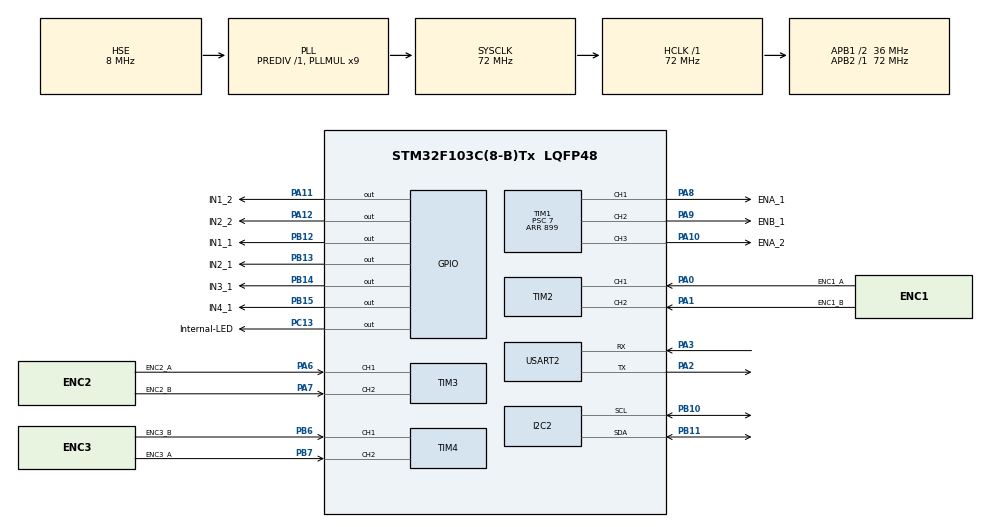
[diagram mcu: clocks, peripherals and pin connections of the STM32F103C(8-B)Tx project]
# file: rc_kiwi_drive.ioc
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I2C2.I2C_Mode=I2C_Fast
Mcu.Family=STM32F1
Mcu.Name=STM32F103C(8-B)Tx
Mcu.Package=LQFP48
NVIC.PriorityGroup=NVIC_PRIORITYGROUP_4
PA0-WKUP.GPIO_Label=ENC1_A
PA0-WKUP.Signal=S_TIM2_CH1_ETR
PA1.GPIO_Label=ENC1_B
PA1.Signal=S_TIM2_CH2
PA10.GPIO_Label=ENA_2
PA10.Signal=S_TIM1_CH3
PA11.GPIO_Label=IN1_2
PA11.Signal=GPIO_Output
PA12.GPIO_Label=IN2_2
PA12.Signal=GPIO_Output
PA13.Mode=Serial_Wire
PA13.Signal=SYS_JTMS-SWDIO
PA14.Mode=Serial_Wire
PA14.Signal=SYS_JTCK-SWCLK
PA2.Mode=Asynchronous
PA2.Signal=USART2_TX
PA3.Mode=Asynchronous
PA3.Signal=USART2_RX
PA6.GPIO_Label=ENC2_A
PA6.Signal=S_TIM3_CH1
PA7.GPIO_Label=ENC2_B
PA7.Signal=S_TIM3_CH2
PA8.GPIO_Label=ENA_1
PA8.Signal=S_TIM1_CH1
PA9.GPIO_Label=ENB_1
PA9.Signal=S_TIM1_CH2
PB10.Mode=I2C
PB10.Signal=I2C2_SCL
PB11.Mode=I2C
PB11.Signal=I2C2_SDA
PB12.GPIO_Label=IN1_1
PB12.Signal=GPIO_Output
PB13.GPIO_Label=IN2_1
PB13.Signal=GPIO_Output
PB14.GPIO_Label=IN3_1
PB14.Signal=GPIO_Output
PB15.GPIO_Label=IN4_1
PB15.Signal=GPIO_Output
PB6.GPIO_Label=ENC3_B
PB6.Signal=S_TIM4_CH1
PB7.GPIO_Label=ENC3_A
PB7.Signal=S_TIM4_CH2
PC13-TAMPER-RTC.GPIO_Label=Internal-LED
PC13-TAMPER-RTC.Signal=GPIO_Output
PD0-OSC_IN.Mode=HSE-External-Oscillator
PD0-OSC_IN.Signal=RCC_OSC_IN
PD1-OSC_OUT.Mode=HSE-External-Oscillator
PD1-OSC_OUT.Signal=RCC_OSC_OUT
ProjectManager.HeapSize=0x200
ProjectManager.StackSize=0x400
ProjectManager.TargetToolchain=STM32CubeIDE
RCC.AHBFreq_Value=72000000
RCC.APB1CLKDivider=RCC_HCLK_DIV2
RCC.APB1Freq_Value=36000000
RCC.APB1TimFreq_Value=72000000
RCC.APB2Freq_Value=72000000
RCC.APB2TimFreq_Value=72000000
RCC.HCLKFreq_Value=72000000
RCC.PLLMUL=RCC_PLL_MUL9
RCC.PLLSourceVirtual=RCC_PLLSOURCE_HSE
RCC.SYSCLKFreq_VALUE=72000000
RCC.SYSCLKSource=RCC_SYSCLKSOURCE_PLLCLK
RCC.USBFreq_Value=72000000
SH.S_TIM1_CH1.0=TIM1_CH1,PWM Generation1 CH1
SH.S_TIM1_CH2.0=TIM1_CH2,PWM Generation2 CH2
SH.S_TIM1_CH3.0=TIM1_CH3,PWM Generation3 CH3
SH.S_TIM2_CH1_ETR.0=TIM2_CH1,Encoder_Interface
SH.S_TIM2_CH2.0=TIM2_CH2,Encoder_Interface
SH.S_TIM3_CH1.0=TIM3_CH1,Encoder_Interface
SH.S_TIM3_CH2.0=TIM3_CH2,Encoder_Interface
SH.S_TIM4_CH1.0=TIM4_CH1,Encoder_Interface
SH.S_TIM4_CH2.0=TIM4_CH2,Encoder_Interface
TIM1.Channel-PWM\ Generation1\ CH1=TIM_CHANNEL_1
TIM1.Channel-PWM\ Generation2\ CH2=TIM_CHANNEL_2
TIM1.Channel-PWM\ Generation3\ CH3=TIM_CHANNEL_3
TIM1.CounterMode=TIM_COUNTERMODE_CENTERALIGNED1
TIM1.Period=899
TIM1.Prescaler=7
TIM2.EncoderMode=TIM_ENCODERMODE_TI12
TIM3.EncoderMode=TIM_ENCODERMODE_TI12
TIM4.EncoderMode=TIM_ENCODERMODE_TI12
USART2.VirtualMode=VM_ASYNC
VP_TIM1_VS_ClockSourceINT.Mode=Internal
board=custom

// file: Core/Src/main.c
/* USER CODE BEGIN Header */
/**
 ******************************************************************************
 * @file           : main.c
 * @brief          : Main program body
 ******************************************************************************
 * @attention
 *
 * Copyright (c) 2026 STMicroelectronics.
 * All rights reserved.
 *
 * This software is licensed under terms that can be found in the LICENSE file
 * in the root directory of this software component.
 * If no LICENSE file comes with this software, it is provided AS-IS.
 *
 ******************************************************************************
 */
/* USER CODE END Header */
#include "main.h"

/* USER CODE BEGIN Includes */

#include "bsp_pwm.h"
#include "motor.h"
#include "encoder.h"
#include "motor_controller.h"
#include "comm.h"
#include "odometry.h"
#include "kiwi_kinematics.h"
#include "imu.h"
#include "survey.h"
#include "waypoint_nav.h"
#include "calib.h"
#include "nvs.h"
#include <stdio.h>
#include <string.h>
#include <math.h>

/* USER CODE END Includes */

/* USER CODE BEGIN PD */

#define DT_NOMINAL_S 0.010f
#define DT_MAX_S 0.050f

#define TELEMETRY_LOG_ENABLED 1
#define TELEMETRY_LOG_PERIOD_MS 50u
#define RAD_TO_DEG_TELEM (180.0f / 3.14159265359f)

#define ENCODER_FAULT_SPEED_EPS_RPM 2.0f
#define ENCODER_FAULT_CMD_MIN_RPM 5.0f
#define ENCODER_FAULT_TICK_THRESHOLD 20u
#define ENCODER_FAULT_GRACE_MS 350u

/* Kiwi-drive mounting geometry: a fixed chassis design constant, not
 * runtime-calibratable (see nvs.h) -- SET THESE TO MATCH YOUR ACTUAL
 * CHASSIS, the same treatment ENCODER_PPR already gets in encoder.h.
 * Angle convention: body-frame CCW-from-+X (forward), matching
 * kiwi_kinematics.h. The values below (90/210/330) are a placeholder
 * symmetric 120-degree default -- correct them before relying on any
 * of this. */
#define KIWI_MOUNT_ANGLE1_DEG 0.0f
#define KIWI_MOUNT_ANGLE2_DEG 120.0f
#define KIWI_MOUNT_ANGLE3_DEG 240.0f
#define KIWI_DEG2RAD(d) ((d) * 3.14159265359f / 180.0f)

#define NAV_IDLE_SPEED_TOL_MPS 0.02f
#define NAV_IDLE_OMEGA_TOL_RADPS 0.15f

/* USER CODE END PD */

I2C_HandleTypeDef hi2c2;

TIM_HandleTypeDef htim1;
TIM_HandleTypeDef htim2;
TIM_HandleTypeDef htim3;
TIM_HandleTypeDef htim4;

UART_HandleTypeDef huart2;

/* USER CODE BEGIN PV */

Motor_t motor1 = {
    .IN1_Port = IN1_1_GPIO_Port,
    .IN1_Pin = IN1_1_Pin,
    .IN2_Port = IN2_1_GPIO_Port,
    .IN2_Pin = IN2_1_Pin,
    .pwmChannel = PWM_CH1};

Motor_t motor2 = {
    .IN1_Port = IN3_1_GPIO_Port,
    .IN1_Pin = IN3_1_Pin,
    .IN2_Port = IN4_1_GPIO_Port,
    .IN2_Pin = IN4_1_Pin,
    .pwmChannel = PWM_CH2};

Motor_t motor3 = {
    .IN1_Port = IN1_2_GPIO_Port,
    .IN1_Pin = IN1_2_Pin,
    .IN2_Port = IN2_2_GPIO_Port,
    .IN2_Pin = IN2_2_Pin,
    .pwmChannel = PWM_CH3};

Encoder_t enc1;
Encoder_t enc2;
Encoder_t enc3;
MotorController_t ctrl1;
MotorController_t ctrl2;
MotorController_t ctrl3;

KiwiKinematics_t g_kin;
Odometry_t g_odom;
static OdomMotionMode_t g_motion_mode = ODOM_IDLE;

/* Last commanded body-frame velocity (CMD_SET_SPEED), replacing the
 * old SyncDrive_t g_drive/target_left/target_right. There is no
 * separate L/R-sync loop left to run: every tick, all 3 wheels'
 * targets are derived from this ONE shared command via
 * KiwiKinematics_InverseKinematics, so they are synchronized by
 * construction (see kiwi_kinematics.h). */
static float g_cmd_vx = 0.0f;
static float g_cmd_vy = 0.0f;
static float g_cmd_omega = 0.0f;
static uint32_t s_last_cmd_change_tick = 0;

static bool g_encoder_fault[3] = {false, false, false};

/* USER CODE END PV */

void SystemClock_Config(void);
static void MX_GPIO_Init(void);
static void MX_TIM2_Init(void);
static void MX_TIM3_Init(void);
static void MX_TIM4_Init(void);
static void MX_TIM1_Init(void);
static void MX_USART2_UART_Init(void);
static void MX_I2C2_Init(void);
/* USER CODE BEGIN PFP */

void OnCommandReceived(CommCmd_t cmd, const uint8_t *payload, uint8_t len);

/* USER CODE END PFP */

/* USER CODE BEGIN 0 */
static void CheckEncoderFault(void)
{
  static uint16_t stall_count[3] = {0, 0, 0};
  static bool prev_fault[3] = {false, false, false};

  if ((HAL_GetTick() - s_last_cmd_change_tick) < ENCODER_FAULT_GRACE_MS)
  {
      stall_count[0] = stall_count[1] = stall_count[2] = 0;
      g_encoder_fault[0] = g_encoder_fault[1] = g_encoder_fault[2] = false;
      return;
  }

  Encoder_t *encs[3] = {&enc1, &enc2, &enc3};
  MotorController_t *ctrls[3] = {&ctrl1, &ctrl2, &ctrl3};

  float speed[3], cmd[3];
  for (int i = 0; i < 3; i++)
  {
    speed[i] = fabsf(Encoder_GetSpeed(encs[i]));
    cmd[i] = fabsf(ctrls[i]->target_rpm);
  }

  bool safe_to_print = !Nav_IsActive();

  for (int i = 0; i < 3; i++)
  {
    bool stalled = (cmd[i] > ENCODER_FAULT_CMD_MIN_RPM) && (speed[i] < ENCODER_FAULT_SPEED_EPS_RPM);

    /* "at least one OTHER wheel is confirmed moving" proves this
     * specific wheel has a problem rather than the whole robot
     * simply being idle/disabled -- generalizes the old pairwise
     * FL-vs-FR check to 3 wheels. */
    bool other_moving = false;
    for (int j = 0; j < 3; j++)
    {
      if (j != i && speed[j] >= ENCODER_FAULT_SPEED_EPS_RPM)
        other_moving = true;
    }

    stall_count[i] = (stalled && other_moving) ? (uint16_t)(stall_count[i] + 1) : 0;
    g_encoder_fault[i] = (stall_count[i] >= ENCODER_FAULT_TICK_THRESHOLD);

    if (g_encoder_fault[i] && !prev_fault[i] && safe_to_print)
    {
      printf("ENCODER_FAULT: wheel %d stalled (cmd=%.1f rpm) while another wheel moves\r\n",
             i + 1, (double)cmd[i]);
    }
    prev_fault[i] = g_encoder_fault[i];
  }
}

#if TELEMETRY_LOG_ENABLED

/* Rolling "worst tick this telemetry period" watchdog. Updated every
 * control tick (see the main loop) with the RAW elapsed_ms BEFORE any
 * dt clamping, and reset to 0 each time it is packed into a telemetry
 * send below -- so each packet reports the worst stall observed in the
 * preceding TELEMETRY_LOG_PERIOD_MS window. A sustained ~10ms reading
 * is normal jitter-free operation; anything materially higher is direct
 * evidence of a blocking call (I2C retry, UART, etc.) eating into the
 * control loop's timing budget. */
static uint32_t s_max_elapsed_ms_since_telem = 0;

static void SendTelemetryLog(float dtheta_gyro_rad)
{
  int32_t d1_32, d2_32, d3_32;
  Odometry_GetLastDeltas(&g_odom, &d1_32, &d2_32, &d3_32);
  int16_t d1 = (int16_t)d1_32;
  int16_t d2 = (int16_t)d2_32;
  int16_t d3 = (int16_t)d3_32;

  float x, y, theta_rad;
  Odometry_GetPosition(&g_odom, &x, &y, &theta_rad);

  float hd_signed, hd_abs;
  Odometry_GetHeadingDisagreement(&g_odom, &hd_signed, &hd_abs);

  uint32_t ts = HAL_GetTick();
  int32_t enc1_pos = Encoder_GetPosition(&enc1);
  int32_t enc2_pos = Encoder_GetPosition(&enc2);
  int32_t enc3_pos = Encoder_GetPosition(&enc3);
  float gyro_raw = IMU_GetLastRawDps();
  float gyro_bias = IMU_GetBiasRaw();
  float dtheta_deg = dtheta_gyro_rad * RAD_TO_DEG_TELEM;
  float theta_deg = theta_rad * RAD_TO_DEG_TELEM;
  uint8_t mode_byte = (uint8_t)g_motion_mode;

  uint8_t is_calibrated = IMU_IsCalibrated() ? 1u : 0u;
  float scale_correction = IMU_GetScaleCorrection();
  uint32_t max_dt_ms = s_max_elapsed_ms_since_telem;
  uint8_t max_dt_ms_clamped = (max_dt_ms > 255u) ? 255u : (uint8_t)max_dt_ms;
  s_max_elapsed_ms_since_telem = 0;

  uint8_t buf[61];
  memcpy(buf + 0, &ts, 4);
  memcpy(buf + 4, &enc1_pos, 4);
  memcpy(buf + 8, &enc2_pos, 4);
  memcpy(buf + 12, &enc3_pos, 4);
  memcpy(buf + 16, &d1, 2);
  memcpy(buf + 18, &d2, 2);
  memcpy(buf + 20, &d3, 2);
  memcpy(buf + 22, &gyro_raw, 4);
  memcpy(buf + 26, &gyro_bias, 4);
  memcpy(buf + 30, &dtheta_deg, 4);
  memcpy(buf + 34, &theta_deg, 4);
  memcpy(buf + 38, &x, 4);
  memcpy(buf + 42, &y, 4);
  memcpy(buf + 46, &hd_signed, 4);
  memcpy(buf + 50, &hd_abs, 4);
  buf[54] = mode_byte;
  buf[55] = is_calibrated;
  memcpy(buf + 56, &scale_correction, 4);
  buf[60] = max_dt_ms_clamped;

  Comm_SendPacket(CMD_TELEMETRY_LOG, buf, sizeof(buf));
}
#endif /* TELEMETRY_LOG_ENABLED */

/* USER CODE END 0 */

int main(void)
{

  /* MCU Configuration--------------------------------------------------------*/

  /* Reset of all peripherals, Initializes the Flash interface and the Systick. */
  HAL_Init();

  /* Configure the system clock */
  SystemClock_Config();

  /* Initialize all configured peripherals */
  MX_GPIO_Init();
  MX_TIM2_Init();
  MX_TIM3_Init();
  MX_TIM4_Init();
  MX_TIM1_Init();
  MX_USART2_UART_Init();
  MX_I2C2_Init();
  /* USER CODE BEGIN 2 */

  HAL_GPIO_WritePin(GPIOC, GPIO_PIN_13, GPIO_PIN_RESET);

  Encoder_Init(&enc1, &htim2);
  Encoder_Init(&enc2, &htim3);
  Encoder_Init(&enc3, &htim4);

  /* Starting sign convention, same as the old FL/FR default -- verify
   * against real hardware (does each encoder count up while its wheel
   * spins in the commanded-forward direction?) and correct per-wheel
   * if any reads backwards. */
  enc1.dir_sign = -1;
  enc2.dir_sign = -1;
  enc3.dir_sign = -1;

  MotorController_Init(&ctrl1, &motor1, &enc1);
  MotorController_Init(&ctrl2, &motor2, &enc2);
  MotorController_Init(&ctrl3, &motor3, &enc3);

  IMU_Init();

  Comm_Init(&huart2);
  Comm_RegisterCommandCallback(OnCommandReceived);

  /* g_kin is the single shared source of truth for chassis geometry:
   * both the command-mixing path (KiwiKinematics_InverseKinematics,
   * used directly in the main loop below) and g_odom's own internal
   * copy (see Odometry_Init) are built from these same values, so the
   * two can't drift apart in practice even though Odometry_t owns its
   * copy rather than a shared pointer (see odometry.h). Wheel/robot
   * radius start at NVS_GetDefaults' placeholders and are corrected
   * below if calibrated values are on flash; mounting angles are a
   * fixed chassis constant (see the KIWI_MOUNT_ANGLE* defines) and are
   * never NVS-loaded. */
  {
    NVS_Params_t defaults;
    NVS_GetDefaults(&defaults);
    KiwiKinematics_Init(&g_kin, defaults.wheel_radius, defaults.robot_radius,
                        KIWI_DEG2RAD(KIWI_MOUNT_ANGLE1_DEG),
                        KIWI_DEG2RAD(KIWI_MOUNT_ANGLE2_DEG),
                        KIWI_DEG2RAD(KIWI_MOUNT_ANGLE3_DEG));
  }
  Odometry_Init(&g_odom, &g_kin,
                Encoder_GetPosition(&enc1), Encoder_GetPosition(&enc2), Encoder_GetPosition(&enc3));

  Nav_Init();
  Cal_Init();

  {
    NVS_Params_t nvs;
    if (NVS_Load(&nvs))
    {
      IMU_SetScaleCorrection(nvs.gyro_scale);
      KiwiKinematics_Init(&g_kin, nvs.wheel_radius, nvs.robot_radius,
                          KIWI_DEG2RAD(KIWI_MOUNT_ANGLE1_DEG),
                          KIWI_DEG2RAD(KIWI_MOUNT_ANGLE2_DEG),
                          KIWI_DEG2RAD(KIWI_MOUNT_ANGLE3_DEG));
      Odometry_SetParams(&g_odom, &g_kin);
      Odometry_SetWheelScale(&g_odom, nvs.wheel_scale1, nvs.wheel_scale2, nvs.wheel_scale3);
    }
  }

  /* USER CODE END 2 */

  /* Infinite loop */
  /* USER CODE BEGIN WHILE */

  uint32_t lastControlTime = 0;
  uint32_t lastStatusTime = 0;
#if TELEMETRY_LOG_ENABLED
  uint32_t lastTelemetryLogTime = 0;
#endif

  while (1)
  {
    /* USER CODE END WHILE */

    /* USER CODE BEGIN 3 */
    uint32_t now = HAL_GetTick();

    Comm_Process();
    Survey_ResyncTick();
    Nav_DebugTick();

    if ((now - lastControlTime) >= 10U)
    {
      uint32_t elapsed_ms = now - lastControlTime;
      float dt = (float)elapsed_ms * 0.001f;
      lastControlTime = now;

      if (elapsed_ms > s_max_elapsed_ms_since_telem)
      {
        s_max_elapsed_ms_since_telem = elapsed_ms;
      }

      if (dt <= 0.0f)
      {
        dt = DT_NOMINAL_S;
      }
      else if (dt > DT_MAX_S)
      {
        /* A real, known elapsed time exists -- use it (capped for
         * numerical safety) rather than discarding it in favour of
         * a fixed nominal value that would under-integrate whatever
         * actually happened during the stall. */
        dt = DT_MAX_S;
      }

      float dtheta_gyro = IMU_UpdateGyroZ(dt);
      IMU_CalibrationTick();

      float cur_x, cur_y, cur_theta;
      Odometry_GetPosition(&g_odom, &cur_x, &cur_y, &cur_theta);

      bool any_encoder_fault = g_encoder_fault[0] || g_encoder_fault[1] || g_encoder_fault[2];

      if (!Comm_IsConnected() || IMU_IsFaulted() || any_encoder_fault)
      {
        if (Nav_IsActive())
          Nav_AbortFailsafe();
        if (Cal_IsActive())
          Cal_Abort();
        g_cmd_vx = 0.0f;
        g_cmd_vy = 0.0f;
        g_cmd_omega = 0.0f;
        MotorController_Stop(&ctrl1);
        MotorController_Stop(&ctrl2);
        MotorController_Stop(&ctrl3);
      }
      else if (Nav_IsActive())
      {
        Nav_Update(dt);
      }
      else if (Cal_IsActive())
      {
        Cal_Update(dt, dtheta_gyro);
      }
      else
      {
        float w1, w2, w3;
        KiwiKinematics_InverseKinematics(&g_kin, g_cmd_vx, g_cmd_vy, g_cmd_omega, &w1, &w2, &w3);
        MotorController_SetSpeed(&ctrl1, w1);
        MotorController_SetSpeed(&ctrl2, w2);
        MotorController_SetSpeed(&ctrl3, w3);
        MotorController_Update(&ctrl1, dt);
        MotorController_Update(&ctrl2, dt);
        MotorController_Update(&ctrl3, dt);
      }
      {
        static bool auto_was_active = false;
        bool auto_now = Nav_IsActive() || Cal_IsActive();
        if (auto_was_active && !auto_now)
        {
          /* Come to a clean, known-zero state on the transition
           * back to manual control -- MotorController_Stop
           * clears each controller's own PID integrator (see
           * motor_controller.c), preventing whatever Nav/Cal
           * left behind from carrying over into manual drive. */
          g_cmd_vx = 0.0f;
          g_cmd_vy = 0.0f;
          g_cmd_omega = 0.0f;
          MotorController_Stop(&ctrl1);
          MotorController_Stop(&ctrl2);
          MotorController_Stop(&ctrl3);
        }
        auto_was_active = auto_now;
      }

      int32_t pos1 = Encoder_GetPosition(&enc1);
      int32_t pos2 = Encoder_GetPosition(&enc2);
      int32_t pos3 = Encoder_GetPosition(&enc3);

      OdomMotionMode_t mode_eff;
      if (Nav_IsActive())
        mode_eff = Nav_GetMotionMode();
      else if (Cal_IsActive())
        mode_eff = Cal_GetMotionMode();
      else
      {
        /* STRAIGHT vs ROTATING no longer changes Odometry_Update's
         * behavior (see odometry.h) -- only IDLE-vs-not matters
         * here, so this collapses to one stationary check against
         * NAV_IDLE_SPEED_TOL_MPS/NAV_IDLE_OMEGA_TOL_RADPS. */
        bool stationary = (sqrtf(g_cmd_vx * g_cmd_vx + g_cmd_vy * g_cmd_vy) < NAV_IDLE_SPEED_TOL_MPS) && (fabsf(g_cmd_omega) < NAV_IDLE_OMEGA_TOL_RADPS);
        mode_eff = stationary ? ODOM_IDLE : ODOM_STRAIGHT;
      }
      Odometry_Update(&g_odom, pos1, pos2, pos3, dtheta_gyro, mode_eff);

      if (!Nav_IsActive() && !Cal_IsActive())
      {
    	  CheckEncoderFault();
      }

#if TELEMETRY_LOG_ENABLED
      if ((now - lastTelemetryLogTime) >= TELEMETRY_LOG_PERIOD_MS)
      {
        lastTelemetryLogTime = now;
        SendTelemetryLog(dtheta_gyro);
      }
#endif
    }

    if ((now - lastStatusTime) >= 100U)
    {
      lastStatusTime = now;

      float speeds[3];
      speeds[0] = MotorController_GetCurrentSpeed(&ctrl1);
      speeds[1] = MotorController_GetCurrentSpeed(&ctrl2);
      speeds[2] = MotorController_GetCurrentSpeed(&ctrl3);

      int32_t cnt1 = Encoder_GetPosition(&enc1);
      int32_t cnt2 = Encoder_GetPosition(&enc2);
      int32_t cnt3 = Encoder_GetPosition(&enc3);
      uint8_t duty1 = MotorController_GetDuty(&ctrl1);
      uint8_t duty2 = MotorController_GetDuty(&ctrl2);
      uint8_t duty3 = MotorController_GetDuty(&ctrl3);

      /* Layout (27 bytes):
       *   [0..3]   float  rpm_1
       *   [4..7]   float  rpm_2
       *   [8..11]  float  rpm_3
       *   [12..15] int32  enc_1  (raw count — drift diagnosis)
       *   [16..19] int32  enc_2
       *   [20..23] int32  enc_3
       *   [24]     uint8  duty_1 (%)
       *   [25]     uint8  duty_2
       *   [26]     uint8  duty_3
       */
      uint8_t status_buf[27];
      memcpy(status_buf, speeds, 12);
      memcpy(status_buf + 12, &cnt1, 4);
      memcpy(status_buf + 16, &cnt2, 4);
      memcpy(status_buf + 20, &cnt3, 4);
      status_buf[24] = duty1;
      status_buf[25] = duty2;
      status_buf[26] = duty3;
      Comm_SendPacket(CMD_STATUS, status_buf, 27);
    }
  }
  /* USER CODE END 3 */
}

void SystemClock_Config(void)
{
  RCC_OscInitTypeDef RCC_OscInitStruct = {0};
  RCC_ClkInitTypeDef RCC_ClkInitStruct = {0};

  /** Initializes the RCC Oscillators according to the specified parameters
  * in the RCC_OscInitTypeDef structure.
  */
  RCC_OscInitStruct.OscillatorType = RCC_OSCILLATORTYPE_HSE;
  RCC_OscInitStruct.HSEState = RCC_HSE_ON;
  RCC_OscInitStruct.HSEPredivValue = RCC_HSE_PREDIV_DIV1;
  RCC_OscInitStruct.HSIState = RCC_HSI_ON;
  RCC_OscInitStruct.PLL.PLLState = RCC_PLL_ON;
  RCC_OscInitStruct.PLL.PLLSource = RCC_PLLSOURCE_HSE;
  RCC_OscInitStruct.PLL.PLLMUL = RCC_PLL_MUL9;
  if (HAL_RCC_OscConfig(&RCC_OscInitStruct) != HAL_OK)
  {
    Error_Handler();
  }

  /** Initializes the CPU, AHB and APB buses clocks
  */
  RCC_ClkInitStruct.ClockType = RCC_CLOCKTYPE_HCLK|RCC_CLOCKTYPE_SYSCLK
                              |RCC_CLOCKTYPE_PCLK1|RCC_CLOCKTYPE_PCLK2;
  RCC_ClkInitStruct.SYSCLKSource = RCC_SYSCLKSOURCE_PLLCLK;
  RCC_ClkInitStruct.AHBCLKDivider = RCC_SYSCLK_DIV1;
  RCC_ClkInitStruct.APB1CLKDivider = RCC_HCLK_DIV2;
  RCC_ClkInitStruct.APB2CLKDivider = RCC_HCLK_DIV1;

  if (HAL_RCC_ClockConfig(&RCC_ClkInitStruct, FLASH_LATENCY_2) != HAL_OK)
  {
    Error_Handler();
  }
}

static void MX_I2C2_Init(void)
{

  hi2c2.Instance = I2C2;
  hi2c2.Init.ClockSpeed = 400000;
  hi2c2.Init.DutyCycle = I2C_DUTYCYCLE_2;
  hi2c2.Init.OwnAddress1 = 0;
  hi2c2.Init.AddressingMode = I2C_ADDRESSINGMODE_7BIT;
  hi2c2.Init.DualAddressMode = I2C_DUALADDRESS_DISABLE;
  hi2c2.Init.OwnAddress2 = 0;
  hi2c2.Init.GeneralCallMode = I2C_GENERALCALL_DISABLE;
  hi2c2.Init.NoStretchMode = I2C_NOSTRETCH_DISABLE;
  if (HAL_I2C_Init(&hi2c2) != HAL_OK)
  {
    Error_Handler();
  }

}

static void MX_TIM1_Init(void)
{

  TIM_ClockConfigTypeDef sClockSourceConfig = {0};
  TIM_MasterConfigTypeDef sMasterConfig = {0};
  TIM_OC_InitTypeDef sConfigOC = {0};
  TIM_BreakDeadTimeConfigTypeDef sBreakDeadTimeConfig = {0};

  htim1.Instance = TIM1;
  htim1.Init.Prescaler = 7;
  htim1.Init.CounterMode = TIM_COUNTERMODE_CENTERALIGNED1;
  htim1.Init.Period = 899;
  htim1.Init.ClockDivision = TIM_CLOCKDIVISION_DIV1;
  htim1.Init.RepetitionCounter = 0;
  htim1.Init.AutoReloadPreload = TIM_AUTORELOAD_PRELOAD_DISABLE;
  if (HAL_TIM_Base_Init(&htim1) != HAL_OK)
  {
    Error_Handler();
  }
  sClockSourceConfig.ClockSource = TIM_CLOCKSOURCE_INTERNAL;
  if (HAL_TIM_ConfigClockSource(&htim1, &sClockSourceConfig) != HAL_OK)
  {
    Error_Handler();
  }
  if (HAL_TIM_PWM_Init(&htim1) != HAL_OK)
  {
    Error_Handler();
  }
  sMasterConfig.MasterOutputTrigger = TIM_TRGO_RESET;
  sMasterConfig.MasterSlaveMode = TIM_MASTERSLAVEMODE_DISABLE;
  if (HAL_TIMEx_MasterConfigSynchronization(&htim1, &sMasterConfig) != HAL_OK)
  {
    Error_Handler();
  }
  sConfigOC.OCMode = TIM_OCMODE_PWM1;
  sConfigOC.Pulse = 0;
  sConfigOC.OCPolarity = TIM_OCPOLARITY_HIGH;
  sConfigOC.OCNPolarity = TIM_OCNPOLARITY_HIGH;
  sConfigOC.OCFastMode = TIM_OCFAST_DISABLE;
  sConfigOC.OCIdleState = TIM_OCIDLESTATE_RESET;
  sConfigOC.OCNIdleState = TIM_OCNIDLESTATE_RESET;
  if (HAL_TIM_PWM_ConfigChannel(&htim1, &sConfigOC, TIM_CHANNEL_1) != HAL_OK)
  {
    Error_Handler();
  }
  if (HAL_TIM_PWM_ConfigChannel(&htim1, &sConfigOC, TIM_CHANNEL_2) != HAL_OK)
  {
    Error_Handler();
  }
  if (HAL_TIM_PWM_ConfigChannel(&htim1, &sConfigOC, TIM_CHANNEL_3) != HAL_OK)
  {
    Error_Handler();
  }
  sBreakDeadTimeConfig.OffStateRunMode = TIM_OSSR_DISABLE;
  sBreakDeadTimeConfig.OffStateIDLEMode = TIM_OSSI_DISABLE;
  sBreakDeadTimeConfig.LockLevel = TIM_LOCKLEVEL_OFF;
  sBreakDeadTimeConfig.DeadTime = 0;
  sBreakDeadTimeConfig.BreakState = TIM_BREAK_DISABLE;
  sBreakDeadTimeConfig.BreakPolarity = TIM_BREAKPOLARITY_HIGH;
  sBreakDeadTimeConfig.AutomaticOutput = TIM_AUTOMATICOUTPUT_DISABLE;
  if (HAL_TIMEx_ConfigBreakDeadTime(&htim1, &sBreakDeadTimeConfig) != HAL_OK)
  {
    Error_Handler();
  }
  HAL_TIM_MspPostInit(&htim1);

}

static void MX_TIM2_Init(void)
{

  TIM_Encoder_InitTypeDef sConfig = {0};
  TIM_MasterConfigTypeDef sMasterConfig = {0};

  htim2.Instance = TIM2;
  htim2.Init.Prescaler = 0;
  htim2.Init.CounterMode = TIM_COUNTERMODE_UP;
  htim2.Init.Period = 65535;
  htim2.Init.ClockDivision = TIM_CLOCKDIVISION_DIV1;
  htim2.Init.AutoReloadPreload = TIM_AUTORELOAD_PRELOAD_DISABLE;
  sConfig.EncoderMode = TIM_ENCODERMODE_TI12;
  sConfig.IC1Polarity = TIM_ICPOLARITY_RISING;
  sConfig.IC1Selection = TIM_ICSELECTION_DIRECTTI;
  sConfig.IC1Prescaler = TIM_ICPSC_DIV1;
  sConfig.IC1Filter = 0;
  sConfig.IC2Polarity = TIM_ICPOLARITY_RISING;
  sConfig.IC2Selection = TIM_ICSELECTION_DIRECTTI;
  sConfig.IC2Prescaler = TIM_ICPSC_DIV1;
  sConfig.IC2Filter = 0;
  if (HAL_TIM_Encoder_Init(&htim2, &sConfig) != HAL_OK)
  {
    Error_Handler();
  }
  sMasterConfig.MasterOutputTrigger = TIM_TRGO_RESET;
  sMasterConfig.MasterSlaveMode = TIM_MASTERSLAVEMODE_DISABLE;
  if (HAL_TIMEx_MasterConfigSynchronization(&htim2, &sMasterConfig) != HAL_OK)
  {
    Error_Handler();
  }

}

static void MX_TIM3_Init(void)
{

  TIM_Encoder_InitTypeDef sConfig = {0};
  TIM_MasterConfigTypeDef sMasterConfig = {0};

  htim3.Instance = TIM3;
  htim3.Init.Prescaler = 0;
  htim3.Init.CounterMode = TIM_COUNTERMODE_UP;
  htim3.Init.Period = 65535;
  htim3.Init.ClockDivision = TIM_CLOCKDIVISION_DIV1;
  htim3.Init.AutoReloadPreload = TIM_AUTORELOAD_PRELOAD_DISABLE;
  sConfig.EncoderMode = TIM_ENCODERMODE_TI12;
  sConfig.IC1Polarity = TIM_ICPOLARITY_RISING;
  sConfig.IC1Selection = TIM_ICSELECTION_DIRECTTI;
  sConfig.IC1Prescaler = TIM_ICPSC_DIV1;
  sConfig.IC1Filter = 0;
  sConfig.IC2Polarity = TIM_ICPOLARITY_RISING;
  sConfig.IC2Selection = TIM_ICSELECTION_DIRECTTI;
  sConfig.IC2Prescaler = TIM_ICPSC_DIV1;
  sConfig.IC2Filter = 0;
  if (HAL_TIM_Encoder_Init(&htim3, &sConfig) != HAL_OK)
  {
    Error_Handler();
  }
  sMasterConfig.MasterOutputTrigger = TIM_TRGO_RESET;
  sMasterConfig.MasterSlaveMode = TIM_MASTERSLAVEMODE_DISABLE;
  if (HAL_TIMEx_MasterConfigSynchronization(&htim3, &sMasterConfig) != HAL_OK)
  {
    Error_Handler();
  }

}

static void MX_TIM4_Init(void)
{

  TIM_Encoder_InitTypeDef sConfig = {0};
  TIM_MasterConfigTypeDef sMasterConfig = {0};

  htim4.Instance = TIM4;
  htim4.Init.Prescaler = 0;
  htim4.Init.CounterMode = TIM_COUNTERMODE_UP;
  htim4.Init.Period = 65535;
  htim4.Init.ClockDivision = TIM_CLOCKDIVISION_DIV1;
  htim4.Init.AutoReloadPreload = TIM_AUTORELOAD_PRELOAD_DISABLE;
  sConfig.EncoderMode = TIM_ENCODERMODE_TI12;
  sConfig.IC1Polarity = TIM_ICPOLARITY_RISING;
  sConfig.IC1Selection = TIM_ICSELECTION_DIRECTTI;
  sConfig.IC1Prescaler = TIM_ICPSC_DIV1;
  sConfig.IC1Filter = 0;
  sConfig.IC2Polarity = TIM_ICPOLARITY_RISING;
  sConfig.IC2Selection = TIM_ICSELECTION_DIRECTTI;
  sConfig.IC2Prescaler = TIM_ICPSC_DIV1;
  sConfig.IC2Filter = 0;
  if (HAL_TIM_Encoder_Init(&htim4, &sConfig) != HAL_OK)
  {
    Error_Handler();
  }
  sMasterConfig.MasterOutputTrigger = TIM_TRGO_RESET;
  sMasterConfig.MasterSlaveMode = TIM_MASTERSLAVEMODE_DISABLE;
  if (HAL_TIMEx_MasterConfigSynchronization(&htim4, &sMasterConfig) != HAL_OK)
  {
    Error_Handler();
  }

}

static void MX_USART2_UART_Init(void)
{

  huart2.Instance = USART2;
  huart2.Init.BaudRate = 115200;
  huart2.Init.WordLength = UART_WORDLENGTH_8B;
  huart2.Init.StopBits = UART_STOPBITS_1;
  huart2.Init.Parity = UART_PARITY_NONE;
  huart2.Init.Mode = UART_MODE_TX_RX;
  huart2.Init.HwFlowCtl = UART_HWCONTROL_NONE;
  huart2.Init.OverSampling = UART_OVERSAMPLING_16;
  if (HAL_UART_Init(&huart2) != HAL_OK)
  {
    Error_Handler();
  }

}

static void MX_GPIO_Init(void)
{
  GPIO_InitTypeDef GPIO_InitStruct = {0};

  /* GPIO Ports Clock Enable */
  __HAL_RCC_GPIOC_CLK_ENABLE();
  __HAL_RCC_GPIOD_CLK_ENABLE();
  __HAL_RCC_GPIOA_CLK_ENABLE();
  __HAL_RCC_GPIOB_CLK_ENABLE();

  /*Configure GPIO pin Output Level */
  HAL_GPIO_WritePin(Internal_LED_GPIO_Port, Internal_LED_Pin, GPIO_PIN_RESET);

  /*Configure GPIO pin Output Level */
  HAL_GPIO_WritePin(GPIOB, IN1_1_Pin|IN2_1_Pin|IN3_1_Pin|IN4_1_Pin, GPIO_PIN_RESET);

  /*Configure GPIO pin Output Level */
  HAL_GPIO_WritePin(GPIOA, IN1_2_Pin|IN2_2_Pin, GPIO_PIN_RESET);

  /*Configure GPIO pin : Internal_LED_Pin */
  GPIO_InitStruct.Pin = Internal_LED_Pin;
  GPIO_InitStruct.Mode = GPIO_MODE_OUTPUT_PP;
  GPIO_InitStruct.Pull = GPIO_NOPULL;
  GPIO_InitStruct.Speed = GPIO_SPEED_FREQ_LOW;
  HAL_GPIO_Init(Internal_LED_GPIO_Port, &GPIO_InitStruct);

  /*Configure GPIO pins : IN1_1_Pin IN2_1_Pin IN3_1_Pin IN4_1_Pin */
  GPIO_InitStruct.Pin = IN1_1_Pin|IN2_1_Pin|IN3_1_Pin|IN4_1_Pin;
  GPIO_InitStruct.Mode = GPIO_MODE_OUTPUT_PP;
  GPIO_InitStruct.Pull = GPIO_NOPULL;
  GPIO_InitStruct.Speed = GPIO_SPEED_FREQ_LOW;
  HAL_GPIO_Init(GPIOB, &GPIO_InitStruct);

  /*Configure GPIO pins : IN1_2_Pin IN2_2_Pin */
  GPIO_InitStruct.Pin = IN1_2_Pin|IN2_2_Pin;
  GPIO_InitStruct.Mode = GPIO_MODE_OUTPUT_PP;
  GPIO_InitStruct.Pull = GPIO_NOPULL;
  GPIO_InitStruct.Speed = GPIO_SPEED_FREQ_LOW;
  HAL_GPIO_Init(GPIOA, &GPIO_InitStruct);

}

/* USER CODE BEGIN 4 */

int __io_putchar(int ch)
{
    (void)ch;
    return ch;
}

static void StartSurvey(void)
{
    if (Nav_IsActive()) Nav_Stop();
    if (Cal_IsActive()) Cal_Abort();
    Nav_ClearWaypoints();
    Odometry_ResetPose(&g_odom,
                        Encoder_GetPosition(&enc1), Encoder_GetPosition(&enc2), Encoder_GetPosition(&enc3));
    IMU_ResetDiagnostics();
    Survey_Clear();
}

/* Persists the currently-applied calibration (gyro scale + odometry
 * geometry) to flash. Must be called after ANY CMD_CAL_APPLY_* that
 * actually changed a value -- otherwise the calibration only lives in
 * RAM and silently reverts to NVS_GetDefaults() on the next power
 * cycle, invalidating whatever field test produced it. */
static void PersistCalibration(void)
{
    NVS_Params_t nvs;
    nvs.gyro_scale    = IMU_GetScaleCorrection();
    nvs.wheel_radius  = g_odom.kin.wheel_radius_m;
    nvs.robot_radius  = g_odom.kin.robot_radius_m;
    nvs.wheel_scale1  = g_odom.wheel_scale[0];
    nvs.wheel_scale2  = g_odom.wheel_scale[1];
    nvs.wheel_scale3  = g_odom.wheel_scale[2];
    if (!NVS_Save(&nvs)) {
        printf("NVS_SAVE_FAILED: calibration not persisted\r\n");
    }
}

void OnCommandReceived(CommCmd_t cmd, const uint8_t *payload, uint8_t len)
{
    switch (cmd) {

    case CMD_SET_SPEED: {
        if (Nav_IsActive()) break;
        if (len == 12) {
            float new_vx, new_vy, new_omega;

            memcpy(&new_vx,    payload,     4);
            memcpy(&new_vy,    payload + 4, 4);
            memcpy(&new_omega, payload + 8, 4);

            if (new_vx != g_cmd_vx ||
                new_vy != g_cmd_vy ||
                new_omega != g_cmd_omega)
            {
                s_last_cmd_change_tick = HAL_GetTick();
            }

            g_cmd_vx    = new_vx;
            g_cmd_vy    = new_vy;
            g_cmd_omega = new_omega;
        }
        break;
    }

    case CMD_REQUEST_TELEMETRY: {
        float speeds[3];
        speeds[0] = MotorController_GetCurrentSpeed(&ctrl1);
        speeds[1] = MotorController_GetCurrentSpeed(&ctrl2);
        speeds[2] = MotorController_GetCurrentSpeed(&ctrl3);
        Comm_SendPacket(CMD_REQUEST_TELEMETRY, (uint8_t *)speeds, sizeof(speeds));
        break;
    }

    case CMD_SET_PID: {
        if (len == 12) {
            float kp, ki, kd;
            memcpy(&kp, payload,     4);
            memcpy(&ki, payload + 4, 4);
            memcpy(&kd, payload + 8, 4);
            PID_SetGains(&ctrl1.pid, kp, ki, kd);
            PID_SetGains(&ctrl2.pid, kp, ki, kd);
            PID_SetGains(&ctrl3.pid, kp, ki, kd);
        }
        break;
    }

    case CMD_RESET_ODOM: {
        StartSurvey();
        break;
    }

    case CMD_GET_ODOM: {
        float x, y, theta;
        Odometry_GetPosition(&g_odom, &x, &y, &theta);

        uint8_t odom_buf[12];
        memcpy(odom_buf,     &x,     4);
        memcpy(odom_buf + 4, &y,     4);
        memcpy(odom_buf + 8, &theta, 4);
        Comm_SendPacket(CMD_ODOMETRY_DATA, odom_buf, 12);
        break;
    }

    /* ---- Gate 2 ---- */
    case CMD_SET_MOTION_MODE: {
        if (Nav_IsActive()) break;
        if (len == 1) {
            bool robot_stopped = (g_cmd_vx == 0.0f) && (g_cmd_vy == 0.0f) && (g_cmd_omega == 0.0f);
            if (g_motion_mode == ODOM_IDLE || robot_stopped) {
                uint8_t requested = payload[0];
                if (requested <= (uint8_t)ODOM_STRAIGHT) {
                    g_motion_mode = (OdomMotionMode_t)requested;
                }
                /* else: out-of-range byte, silently ignored -- mode unchanged */
            }
            /* else: rejected -- section 11.1, no mode change mid-motion */
        }
        break;
    }

    case CMD_MARK_VERTEX: {
        uint8_t index = 0;
        SurveyMarkStatus_t status = Survey_MarkVertex(&index);

        uint8_t resp[2 + sizeof(Vertex_t)];
        resp[0] = (uint8_t)status;
        uint8_t resp_len = 1;

        if (status == SURVEY_MARK_OK) {
            const Vertex_t *v = Survey_GetVertex(index);
            if (v) {
                resp[1] = index;
                memcpy(&resp[2], v, sizeof(Vertex_t));
                resp_len = (uint8_t)(2 + sizeof(Vertex_t));
            }
        }

        Comm_SendPacket(CMD_VERTEX_DATA, resp, resp_len);
        break;
    }

    case CMD_CLEAR_VERTICES: {
        bool robot_stopped = (g_cmd_vx == 0.0f) && (g_cmd_vy == 0.0f) && (g_cmd_omega == 0.0f);
        if (g_motion_mode == ODOM_IDLE || robot_stopped) {
            Survey_Clear();
        }
        break;
    }

    case CMD_CLOSE_SURVEY: {
        Survey_Close();
        break;
    }

    case CMD_GET_ALL_VERTICES: {
        Survey_StartResync();
        break;
    }

    /* ---- Phase 3: autonomous waypoint patrol ---- */
    case CMD_NAV_CLEAR: {
        if (!Nav_IsActive()) Nav_ClearWaypoints();
        Nav_SendStatus();
        break;
    }
    case CMD_NAV_ADD_WP: {
        if (len == 8) {
            float wx, wy;
            memcpy(&wx, payload,     4);
            memcpy(&wy, payload + 4, 4);
            Nav_AddWaypoint(wx, wy);   /* rejected internally if active/full */
        }
        Nav_SendStatus();
        break;
    }
    case CMD_NAV_START: {
        if (len == 1) {
            if (Nav_Start(payload[0])) {
                /* zero any stale manual targets so the post-patrol
                 * hand-over is clean */
                g_cmd_vx = 0.0f; g_cmd_vy = 0.0f; g_cmd_omega = 0.0f;
                MotorController_Stop(&ctrl1);
                MotorController_Stop(&ctrl2);
                MotorController_Stop(&ctrl3);
            }
        }
        Nav_SendStatus();
        break;
    }
    case CMD_NAV_STOP: {
        if (Nav_IsActive()) Nav_Stop();
        Nav_SendStatus();
        break;
    }
    case CMD_NAV_MARK_WP: {
        float x, y, th;
        Odometry_GetPosition(&g_odom, &x, &y, &th);
        bool ok = Nav_AddWaypoint(x, y);   /* rejected internally if active/full */

        uint8_t resp[10];
        resp[0] = ok ? 1u : 0u;
        resp[1] = ok ? (uint8_t)(Nav_GetWaypointCount() - 1u) : 0xFFu;
        memcpy(resp + 2, &x, 4);
        memcpy(resp + 6, &y, 4);
        Comm_SendPacket(CMD_NAV_WP_DATA, resp, sizeof(resp));
        Nav_SendStatus();
        break;
    }
    /* ---- Phase 4: field calibration ---- */

    case CMD_CAL_SPIN: {
        if (!Nav_IsActive() && !Cal_IsActive() && len == 12) {
            float deg_ccw, deg_cw, power_pct;
            memcpy(&deg_ccw,   payload,     4);
            memcpy(&deg_cw,    payload + 4, 4);
            memcpy(&power_pct, payload + 8, 4);
            Cal_StartSpin(deg_ccw, deg_cw, power_pct);
        }
        break;
    }
    case CMD_CAL_ROLL: {
        if (!Nav_IsActive() && !Cal_IsActive() && len == 8) {
            float dist_m, power_pct;
            memcpy(&dist_m,    payload,     4);
            memcpy(&power_pct, payload + 4, 4);
            Cal_StartRoll(dist_m, power_pct);
        }
        break;
    }
    case CMD_CAL_STOP: {
        if (Cal_IsActive()) Cal_Abort();
        break;
    }

    /* Gyro scale and robot radius are both derived from the SAME
     * completed 2-leg spin test -- calib.c already holds its own
     * cached gyro-integrated vs kinematics-implied per-leg figures
     * (see Cal_GetSpinResult); the operator supplies only the
     * ground-truth measured angles (protractor/floor marks), never
     * retransmitting anything the STM32 already measured itself. */
    case CMD_CAL_APPLY_SPIN: {
        float g1_gyro, g1_kin, g2_gyro, g2_kin;
        if (len == 8 && Cal_GetSpinResult(&g1_gyro, &g1_kin, &g2_gyro, &g2_kin)) {
            float measured_ccw, measured_cw;
            memcpy(&measured_ccw, payload,     4);
            memcpy(&measured_cw,  payload + 4, 4);

            float gyro_sum     = g1_gyro + g2_gyro;
            float kin_sum       = g1_kin  + g2_kin;
            float measured_sum = measured_ccw + measured_cw;

            /* Guard against a degenerate cached test or nonsensical
             * operator input driving either formula's denominator
             * toward zero -- same spirit as the pre-migration
             * handler's d_cmd > 0.05f sanity check. */
            if (gyro_sum > 1.0f && measured_sum > 1.0f && kin_sum > 0.0f) {
                float new_gyro_scale   = IMU_GetScaleCorrection() * measured_sum / gyro_sum;
                float new_robot_radius = g_kin.robot_radius_m * kin_sum / measured_sum;

                if (IMU_SetScaleCorrection(new_gyro_scale)) {
                    KiwiKinematics_Init(&g_kin, g_kin.wheel_radius_m, new_robot_radius,
                                         g_kin.mount_angle_rad[0], g_kin.mount_angle_rad[1], g_kin.mount_angle_rad[2]);
                    Odometry_SetParams(&g_odom, &g_kin);
                    PersistCalibration();
                    Cal_ClearSpinResult();
                }
            }
        }
        break;
    }
    case CMD_CAL_APPLY_ROLL: {
        float dist_estimated;
        if (len == 4 && Cal_GetRollResult(&dist_estimated) && dist_estimated > 0.01f) {
            float d_true;
            memcpy(&d_true, payload, 4);

            if (d_true > 0.01f) {
                float new_wheel_radius = g_kin.wheel_radius_m * d_true / dist_estimated;
                KiwiKinematics_Init(&g_kin, new_wheel_radius, g_kin.robot_radius_m,
                                     g_kin.mount_angle_rad[0], g_kin.mount_angle_rad[1], g_kin.mount_angle_rad[2]);
                Odometry_SetParams(&g_odom, &g_kin);
                PersistCalibration();
                Cal_ClearRollResult();
            }
        }
        break;
    }

    default:
        break;
    }
}

/* USER CODE END 4 */

void Error_Handler(void)
{
  __disable_irq();
  while (1)
  {
  }
}
